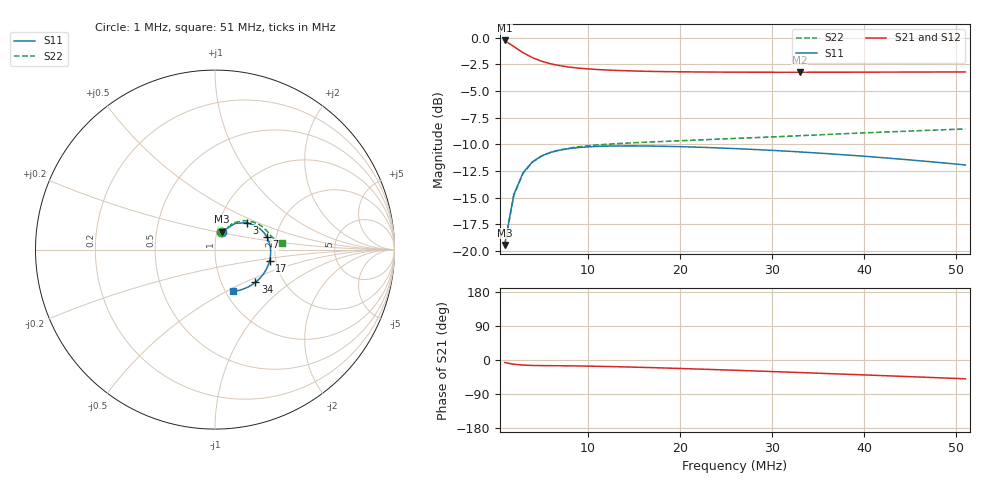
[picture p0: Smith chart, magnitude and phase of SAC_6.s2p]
# MHz S RI R 50
! S-Parameters data
! Freq  reS11  imS11  reS21  imS21  reS12  imS12  reS22  imS22
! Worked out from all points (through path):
!   51 points, 1 MHz to 51 MHz, reference 50 ohm
!   highest |S21| = -0.26 dB at 1 MHz (marker M1); lowest = -3.2 dB at 33 MHz (marker M2)
!   group delay of S21, straight-line fit = 2.17 ns
!   lowest |S11| = -19.4 dB at 1 MHz (marker M3), VSWR 1.24, Z = 52.9 + j10.7 ohm
!   |S11| at or under -10 dB: start of sweep to end of sweep
!   |S22| runs from -19.6 to -8.6 dB; largest |S21 - S12| = 0.0025
!   S11 on the Smith chart (normalised r, x): 1 MHz: 1.06, +0.21; 3 MHz: 1.36, +0.43; 7 MHz: 1.78, +0.28; 17 MHz: 1.85, -0.26; 34 MHz: 1.44, -0.58; 51 MHz: 1.08, -0.54
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1  0.0381 0.0996  0.9642 -0.1135  0.9645 -0.1127  0.0353 0.0992
2  0.1121 0.1459  0.8917 -0.1764  0.8926 -0.1751  0.1038 0.15
3  0.1782 0.1495  0.8274 -0.1974  0.8288 -0.1964  0.1653 0.1613
4  0.2246 0.1336  0.7814 -0.2003  0.7831 -0.1995  0.209 0.1548
5  0.2553 0.1123  0.7502 -0.198  0.7519 -0.1973  0.2386 0.143
6  0.2755 0.0906  0.7288 -0.1954  0.7305 -0.1946  0.2585 0.131
7  0.2887 0.0704  0.7135 -0.1939  0.7152 -0.1934  0.2726 0.12
8  0.2975 0.0519  0.7022 -0.194  0.7039 -0.1936  0.2825 0.1108
10  0.307 0.0196  0.6862 -0.1986  0.6879 -0.1983  0.2959 0.0962
13  0.31 -0.0199  0.6697 -0.213  0.6715 -0.2129  0.3074 0.082
17  0.3039 -0.0623  0.6525 -0.2393  0.6544 -0.2403  0.3165 0.0714
18  0.3013 -0.0717  0.6483 -0.247  0.6503 -0.2481  0.3184 0.0694
21  0.2916 -0.0978  0.636 -0.2713  0.638 -0.2725  0.3235 0.0651
26  0.27 -0.1352  0.6137 -0.3141  0.6156 -0.3155  0.3315 0.0602
30  0.2489 -0.1607  0.5937 -0.3494  0.5954 -0.3512  0.3378 0.0572
33  0.2311 -0.1775  0.5771 -0.376  0.5787 -0.3779  0.3427 0.0551
34  0.2247 -0.1826  0.5713 -0.385  0.5728 -0.3868  0.3443 0.0545
35  0.2184 -0.1875  0.5653 -0.3939  0.5667 -0.3957  0.3459 0.0537
39  0.1911 -0.2047  0.5398 -0.4287  0.541 -0.4305  0.3527 0.0507
43  0.1617 -0.2182  0.5117 -0.4627  0.5128 -0.4647  0.3591 0.0471
47  0.1306 -0.2277  0.4809 -0.4954  0.4816 -0.4975  0.3653 0.0427
51  0.0982 -0.2332  0.4477 -0.5266  0.448 -0.5287  0.3713 0.0378
